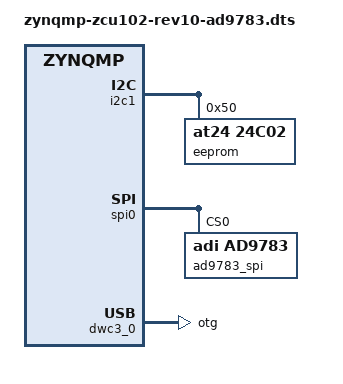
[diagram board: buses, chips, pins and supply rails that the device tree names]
// SPDX-License-Identifier: GPL-2.0
/*
 * hdl_project: <ad9783_ebz/zcu102>
 * board_revision: <>
 *
 * Copyright (C) 2022 Analog Devices Inc.
 */
/dts-v1/;

#include "zynqmp-zcu102-rev1.0.dts"
#include <dt-bindings/interrupt-controller/irq.h>

/ {
	clocks {
		ad9783_clk: clock@0 {
			compatible = "fixed-clock";
			#clock-cells =<0>;
			clock-frequency = <500000000>;
		};
	};
};

&i2c1 {
	i2c-mux@75 {
		i2c@0 {
			#address-cells = <1>;
			#size-cells = <0>;
			reg = <0>;

			eeprom@50 {
				compatible = "at24,24c02";
				reg = <0x50>;
			};

		};
	};
};

/ {
	fpga_axi: fpga-axi@0 {
		interrupt-parent = <&gic>;
		compatible = "simple-bus";
		#address-cells = <0x1>;
		#size-cells = <0x1>;
		ranges = <0 0 0 0xffffffff>;

		tx_dma: tx-dmac@9c420000 {
			compatible = "adi,axi-dmac-1.00.a";
			reg = <0x9c420000 0x10000>;
			#dma-cells = <1>;
			interrupts = <0 108 IRQ_TYPE_LEVEL_HIGH>;
			clocks = <&zynqmp_clk 71>;

			adi,channels {
				#size-cells = <0>;
				#address-cells = <1>;

				dma-channel@0 {
					reg = <0>;
					adi,source-bus-width = <128>;
					adi,source-bus-type = <0>;
					adi,destination-bus-width = <128>;
					adi,destination-bus-type = <1>;
				};
			};
		};

		axi_sysid_0: axi-sysid-0@85000000 {
			compatible = "adi,axi-sysid-1.00.a";
			reg = <0x85000000 0x10000>;
		};

		axi_ad9783_core: ad9783_core_dds@94204000 {
			compatible = "adi,axi-ad9783-1.0";
			reg = <0x94204000 0x4000>;
			dmas = <&tx_dma 0>;
			dma-names = "tx";
			spibus-connected = <&ad9783_spi>;
		};
	};
};

&spi0 {
	status = "okay";

	ad9783_spi: ad9783@0 {
		#address-cells = <1>;
		#size-cells = <0>;
		compatible = "adi,ad9783";
		reg = <0>;
		spi-max-freequency = <10000000>;
		clocks = <&ad9783_clk>;
		clock-names = "dac_clk";
	};
};

&dwc3_0 {
	status = "okay";
	dr_mode = "otg";
};
